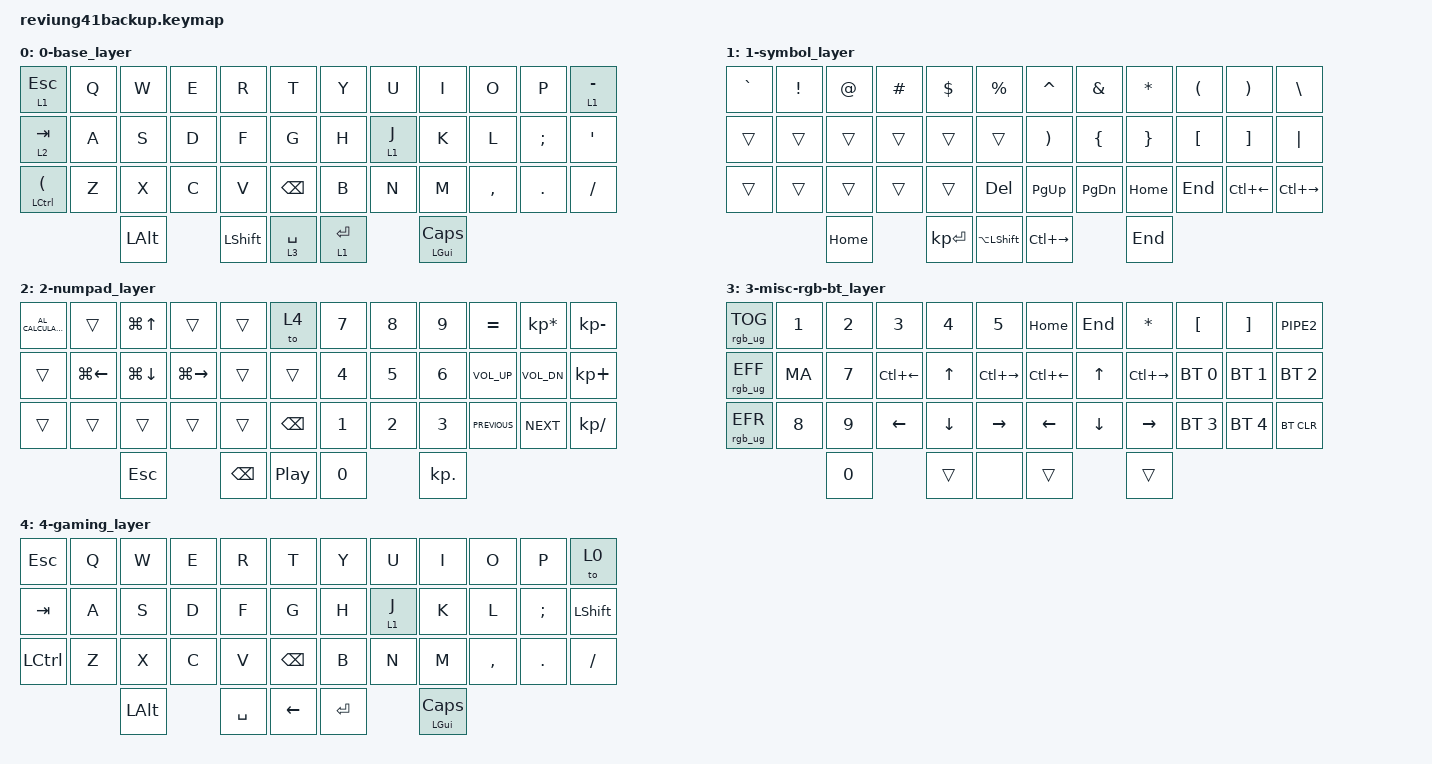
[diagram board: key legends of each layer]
/*
 * Copyright (c) 2020 The ZMK Contributors
 *
 * SPDX-License-Identifier: MIT
 */

#include <behaviors.dtsi>
#include <dt-bindings/zmk/keys.h>
#include <dt-bindings/zmk/bt.h>
#include <dt-bindings/zmk/rgb.h>
#include <dt-bindings/zmk/ext_power.h>

#define DEFAULT 0-base
#define LOWER   1-symbol
#define RAISE   2-numpad
#define ADJUST  3-misc-rgb-bt
#define GAMING  4-gaming


/* Macro starts here */
/ {
    macros {
        zed_em_kay: MA {
            label = "MA";
            compatible = "zmk,behavior-macro";
            #binding-cells = <0>;
            bindings
                = <&macro_tap &kp M &kp A &kp SPACE>
                ;
        };
    };
};







/ {
        keymap {
                compatible = "zmk,keymap";


                  0-base_layer {
// -------------------------------------------------------------------------------------
// | LT(1) ESC   |  Q  |  W  |  E  |  R  |  T  |                 |  Y  |      U     |  I  |  O  |  P  |  LT(1) -  |
// | LT(2) TAB   |  A  |  S  |  D  |  F  |  G  |                 |  H  |  LT(1) J   |  K  |  L  |  ;  |     '     |
// | LCTRL(LPAR) |  Z  |  X  |  C  |  V  |BSPC |                 |  B  |      N     |  M  |  ,  |  .  |     /     |
//                              | ALT |  LSHFT |    LT (3) SPC   |  LT (1) ENT  | GUI(CAPSLOCK) |
                        bindings = <
   &lt 1 ESC      &kp Q &kp W &kp E &kp R &kp T             &kp Y &kp U    &kp I     &kp O     &kp P     &lt 1 MINUS
   &lt 2 TAB      &kp A &kp S &kp D &kp F &kp G             &kp H &lt 1 J  &kp K     &kp L     &kp SEMI  &kp SQT
   &mt LCTRL LPAR &kp Z &kp X &kp C &kp V &kp BSPC          &kp B &kp N    &kp M     &kp COMMA &kp DOT   &kp FSLH
                        &kp LALT  &kp LSHIFT   &lt 3 SPACE  &lt 1 RET  &mt LGUI CAPS
                        >;
                };

                1-symbol_layer {
// ----------------------------------------------------------------------------------
// | ~  |  !  |  @  |  #  |  $  |  %  |       |  ^  |  &  |  *  |  (  |  )  |  \  |
// |    |     |     |     |     |     |       | )   |  {  |  }  |  [  |  ]  |  |  |
// |    |     |     |     |     | DEL |       | pgup| pgdn| Home| End | c(←)| c(→)|
//              |  HOME  | NumpadENT  |CHINESE|   |   END  |
                        bindings = <
   &kp GRAVE &kp EXCL  &kp AT      &kp HASH     &kp DLLR  &kp PRCNT     &kp CARET &kp AMPS  &kp ASTERISK  &kp LPAR           &kp RPAR             &kp BACKSLASH
   &trans    &trans    &trans      &trans       &trans    &trans        &kp RPAR  &kp LBRC  &kp RBRC      &kp LEFT_BRACKET   &kp RIGHT_BRACKET    &kp PIPE    
   &trans    &trans    &trans      &trans       &trans    &kp DEL       &kp PG_UP &kp PG_DN &kp HOME      &kp END            &kp LC(LEFT_ARROW)   &kp LC(RIGHT_ARROW)
                              &kp HOME          &kp KP_ENTER      &kp LA(LSHIFT)    &kp LC(RIGHT_ARROW)       &kp END
                        >;
                };

                2-numpad_layer {
// -----------------------------------------------------------------------------------------
// |CALC|        |  G(UP)  |        |     |to gaming layer|         | 7  | 8  |  9 |  =  |  *  | - |
// |    | G(LEFT)| G(DOWN) |G(RIGHT)|     |               |         | 4  | 5  | 6  | Vup | Vdn | + |
// |    |        |         |        |     |      BSPC     |         | 1  | 2  | 3  | Vpv | Vnx | / |
//                              | ESC | BSPC  | MEDIA PLAY | 0   |  .   |
                        bindings = <
   &kp C_AL_CALCULATOR  &trans       &kp LG(UP)    &trans         &trans  &to 4        &kp N7   &kp N8    &kp N9    &kp EQUAL      &kp KP_MULTIPLY    &kp KP_MINUS
   &trans               &kp LG(LEFT) &kp LG(DOWN)  &kp LG(RIGHT)  &trans  &trans        &kp N4   &kp N5    &kp N6    &kp C_VOL_UP   &kp C_VOL_DN       &kp KP_PLUS
   &trans               &trans       &trans        &trans         &trans  &kp BSPC      &kp N1   &kp N2    &kp N3    &kp C_PREVIOUS &kp C_NEXT         &kp KP_DIVIDE
                                &kp ESC      &kp BSPC      &kp  C_PLAY_PAUSE        &kp N0      &kp KP_DOT
                        >;
                };

                3-misc-rgb-bt_layer {
// -----------------------------------------------------------------------------------------
// | RGB TOG  |  1  |  2  |    3       |  4     |   5          |   |      HOME  |    END |    *         |   [    |    ]   |     |    |
// | RGB ANI+ |  MA  |  7  | C(KC_LEFT) |  UP    |  C(KC_RIGHT) |   | C(KC_LEFT) |  UP    |  C(KC_RIGHT) |   BT1  |  BT2   |    BT3   |
// | RGB ANI- |  8  |  9  |    LEFT    |  DOWN  |     RIGHT    |   |    LEFT    |  DOWN  |     RIGHT    | BT4    |  BT5   |  BT CLR  |
//                                              |    0    |              |   |        |     |
                        bindings = <
   &rgb_ug RGB_TOG        &kp N1   &kp N2  &kp N3               &kp N4    &kp N5                        &kp HOME             &kp END   &kp ASTERISK            &kp LEFT_BRACKET &kp RIGHT_BRACKET &kp PIPE2 
   &rgb_ug RGB_EFF        &MA   &kp N7  &kp LC(LEFT_ARROW)   &kp UP    &kp LC(RIGHT_ARROW)           &kp LC(LEFT_ARROW)   &kp UP    &kp LC(RIGHT_ARROW)     &bt BT_SEL 0     &bt BT_SEL 1      &bt BT_SEL 2
   &rgb_ug RGB_EFR        &kp N8   &kp N9  &kp LEFT             &kp DOWN  &kp RIGHT                     &kp LEFT             &kp DOWN  &kp RIGHT               &bt BT_SEL 3     &bt BT_SEL 4      &bt BT_CLR
                                                                     &kp N0      &trans       &none      &trans      &trans
                        >;
                };
                
                      4-gaming_layer {
// -------------------------------------------------------------------------------------
// | ESC   |  Q  |  W  |  E  |  R  |  T  |                 |  Y  |      U     |  I  |  O  |  P  | To LAYER 0  |
// | TAB   |  A  |  S  |  D  |  F  |  G  |                 |  H  |    lt(1)J  |  K  |  L  |  ;  |  shift  |
// | LCTRL |  Z  |  X  |  C  |  V  |BSPC |                 |  B  |      N     |  M  |  ,  |  .  | / |
//                           | ALT |  SPC |  LEFT ARROW  |  ENT  | GUI(CAPSLOCK) |
                        bindings = <
   &kp ESC      &kp Q &kp W &kp E &kp R &kp T             &kp Y &kp U    &kp I     &kp O     &kp P     &to 0
   &kp TAB      &kp A &kp S &kp D &kp F &kp G             &kp H &lt 1 J  &kp K     &kp L     &kp SEMI  &kp LSHIFT
   &kp LCTRL    &kp Z &kp X &kp C &kp V &kp BSPC          &kp B &kp N    &kp M     &kp COMMA &kp DOT  &kp FSLH
                        &kp LALT  &kp SPACE  &kp LEFT  &kp RET  &mt LGUI CAPS       
                
                        >;
                };
            
                
                
             

        };
};
